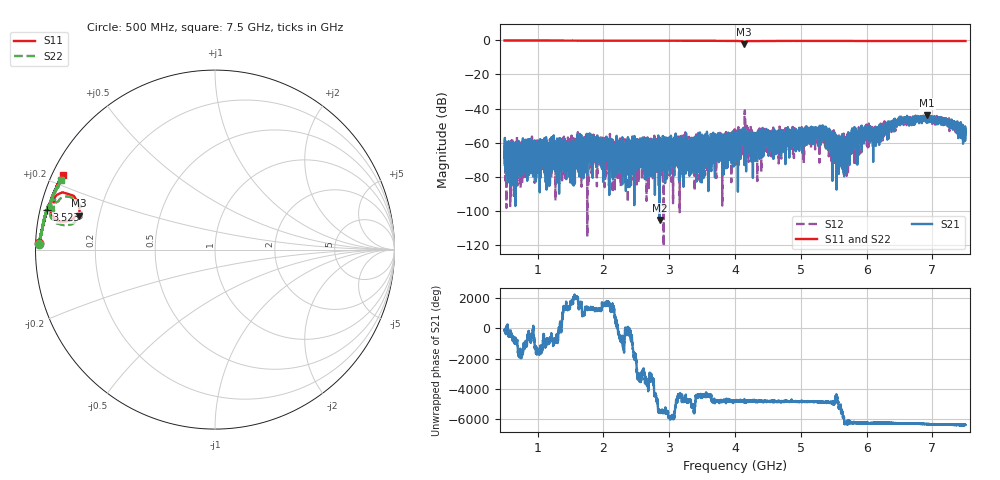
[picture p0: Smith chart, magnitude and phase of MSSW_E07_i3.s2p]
!Keysight Technologies,M9374A,MY55442783,A.12.55.05
!Date: Thursday, May 20, 2021 17:02:43
!Correction: S11(Full 2 Port(1,2))
!S21(Full 2 Port(1,2))
!S12(Full 2 Port(1,2))
!S22(Full 2 Port(1,2))
!S2P File: Measurements: S11, S21, S12, S22:
# Hz S  RI  R 50
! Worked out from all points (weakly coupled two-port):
!   7001 points, 500 MHz to 7.5 GHz, reference 50 ohm
!   highest |S21| = -43.81 dB at 6.921 GHz (marker M1); lowest = -105.1 dB at 2.854 GHz (marker M2)
!   lowest |S11| = -2.1 dB at 4.141 GHz (marker M3), VSWR 8.13, Z = 6.24 + j6.05 ohm
!   |S11| at or under -10 dB: nowhere
!   |S22| runs from -2.3 to -0.2 dB; largest |S21 - S12| = 0.0077
!   S11 on the Smith chart (normalised r, x): 500 MHz: 0.01, +0.02; 3.523 GHz: 0.02, +0.12; 7.5 GHz: 0.03, +0.23
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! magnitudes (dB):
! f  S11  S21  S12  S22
! 500 MHz  -0.2  -65.8  -73.6  -0.2
! 687 MHz  -0.2  -70.4  -57.8  -0.2
! 1.667 GHz  -0.3  -73.1  -85.7  -0.3
! 1.877 GHz  -0.3  -58.1  -58.3  -0.3
! 2.2 GHz  -0.3  -63.4  -60.3  -0.3
! 2.432 GHz  -0.3  -73.1  -65.6  -0.3
! 2.834 GHz  -0.3  -55.7  -67.0  -0.3
! 2.854 GHz  -0.3  -105.1  -60.0  -0.3
! 3.523 GHz  -0.3  -65.3  -64.1  -0.3
! 4 GHz  -0.4  -56.1  -61.4  -0.4
! 4.107 GHz  -0.5  -54.5  -62.1  -0.8
! 4.141 GHz  -2.1  -60.1  -58.3  -2.3
! 4.317 GHz  -0.5  -57.6  -54.4  -0.6
! 5.167 GHz  -0.4  -53.0  -55.9  -0.4
! 5.37 GHz  -0.4  -56.2  -51.9  -0.4
! 5.553 GHz  -0.4  -61.9  -57.4  -0.4
! 5.666 GHz  -0.4  -61.4  -61.1  -0.4
! 5.804 GHz  -0.4  -54.8  -60.3  -0.4
! 6.334 GHz  -0.5  -54.6  -54.0  -0.5
! 6.921 GHz  -0.5  -43.8  -47.0  -0.5
! 7.22 GHz  -0.5  -47.4  -47.0  -0.5
! 7.5 GHz  -0.5  -52.1  -57.8  -0.5
